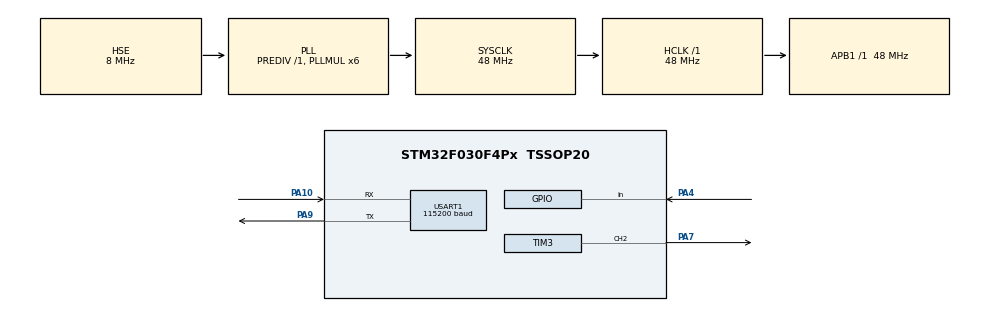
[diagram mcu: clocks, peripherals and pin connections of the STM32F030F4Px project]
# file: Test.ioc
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Mcu.Family=STM32F0
Mcu.Name=STM32F030F4Px
Mcu.Package=TSSOP20
NVIC.USART1_IRQn=true\:1\:0\:true\:true\:true\:1\:true\:true\:true
PA10.Mode=Asynchronous
PA10.Signal=USART1_RX
PA13.Mode=Serial_Wire
PA13.Signal=SYS_SWDIO
PA14.Mode=Serial_Wire
PA14.Signal=SYS_SWCLK
PA4.GPIO_PuPd=GPIO_PULLUP
PA4.Signal=GPIO_Input
PA7.Signal=S_TIM3_CH2
PA9.Mode=Asynchronous
PA9.Signal=USART1_TX
PF0-OSC_IN.Mode=HSE-External-Oscillator
PF0-OSC_IN.Signal=RCC_OSC_IN
PF1-OSC_OUT.Mode=HSE-External-Oscillator
PF1-OSC_OUT.Signal=RCC_OSC_OUT
ProjectManager.HeapSize=0x200
ProjectManager.StackSize=0x400
ProjectManager.TargetToolchain=MDK-ARM V5.32
RCC.AHBFreq_Value=48000000
RCC.APB1Freq_Value=48000000
RCC.APB1TimFreq_Value=48000000
RCC.HCLKFreq_Value=48000000
RCC.PLLMUL=RCC_PLL_MUL6
RCC.PLLSourceVirtual=RCC_PLLSOURCE_HSE
RCC.SYSCLKFreq_VALUE=48000000
RCC.SYSCLKSource=RCC_SYSCLKSOURCE_PLLCLK
SH.S_TIM3_CH2.0=TIM3_CH2,PWM Generation2 CH2
TIM3.Channel-PWM\ Generation2\ CH2=TIM_CHANNEL_2
TIM3.Period=100
TIM3.Prescaler=1000
USART1.BaudRate=115200
USART1.VirtualMode-Asynchronous=VM_ASYNC
board=custom

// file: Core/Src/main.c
/* USER CODE BEGIN Header */
/**
  ******************************************************************************
  * @file           : main.c
  * @brief          : Main program body
  ******************************************************************************
  * @attention
  *
  * Copyright (c) 2024 STMicroelectronics.
  * All rights reserved.
  *
  * This software is licensed under terms that can be found in the LICENSE file
  * in the root directory of this software component.
  * If no LICENSE file comes with this software, it is provided AS-IS.
  *
  ******************************************************************************
  */
/* USER CODE END Header */
#include "main.h"

/* USER CODE BEGIN Includes */
#include "wexcube.h"
/* USER CODE END Includes */

/* USER CODE BEGIN PD */
// 设备控制页面控件ID
#define TEXT_ID       2   // 文本框 ID
#define SWITCH_ID     4   // 开关ID
#define SLIDER_ID     6   // 滑动条ID
/* USER CODE END PD */

TIM_HandleTypeDef htim3;

UART_HandleTypeDef huart1;

void SystemClock_Config(void);
static void MX_GPIO_Init(void);
static void MX_TIM3_Init(void);
static void MX_USART1_UART_Init(void);
static void MX_NVIC_Init(void);

int main(void)
{

  /* USER CODE BEGIN 1 */
  wex_u8_t lightOn = 0;
  wex_u8_t lightLevel = 0;
  /* USER CODE END 1 */

  /* MCU Configuration--------------------------------------------------------*/

  /* Reset of all peripherals, Initializes the Flash interface and the Systick. */
  HAL_Init();

  /* Configure the system clock */
  SystemClock_Config();

  /* Initialize all configured peripherals */
  MX_GPIO_Init();
  MX_TIM3_Init();
  MX_USART1_UART_Init();

  /* Initialize interrupts */
  MX_NVIC_Init();
  /* USER CODE BEGIN 2 */

	HAL_TIM_PWM_Start(&htim3, TIM_CHANNEL_2);

	wex_init();
	wex_start();

  // 开启接收中断
	__HAL_UART_ENABLE_IT(&huart1, UART_IT_RXNE);

  /* USER CODE END 2 */

  /* Infinite loop */
  /* USER CODE BEGIN WHILE */
  while (1)
  {
	  const t_sWexCmd *pWexCmd = wex_process();
    switch (pWexCmd->eCmdType)
    {
    case eWexCmd_Connect:       		// WeXCube 连接指令
      wex_setText(TEXT_ID, "在线"); // 发送中文字符需要文件编码为 UTF-8
      wex_setTextColor(TEXT_ID, eWexColor_Green);
      wex_setValue(SWITCH_ID, lightOn);
      wex_setValue(SLIDER_ID, lightLevel);
      break;

    case eWexCmd_Event:         // 控件事件触发
      {
        switch (pWexCmd->ucCtrlId)
        {
        case SWITCH_ID:         // 开关控件
          if (pWexCmd->ucValue)
          {
            lightOn     = 1;
            lightLevel  = 50;
          }
          else
          {
            lightOn     = 0;
            lightLevel  = 0;
          }
          wex_setValue(SLIDER_ID, lightLevel);
          __HAL_TIM_SET_COMPARE(&htim3, TIM_CHANNEL_2, lightLevel);
          break;

        case SLIDER_ID:          // 滑动条控件
          lightLevel = pWexCmd->ucValue;
          if (lightLevel)
          {
            if (!lightOn)
            {
              lightOn = 1;
              wex_setValue(SWITCH_ID, 1);
            }
          }
          else
          {
            if (lightOn)
            {
              lightOn = 0;
              wex_setValue(SWITCH_ID, 0);
            }
          }
          __HAL_TIM_SET_COMPARE(&htim3, TIM_CHANNEL_2, lightLevel);
          break;

        default:
          break;
        }
      }
      break;

    default:
      break;
    }

    // 板子上按键处理
    if (HAL_GPIO_ReadPin(GPIOA, GPIO_PIN_4) == GPIO_PIN_RESET)
    {
      HAL_Delay(20);
      if (HAL_GPIO_ReadPin(GPIOA, GPIO_PIN_4) == GPIO_PIN_RESET)
      {
        if (lightOn)
        {
          lightOn     = 0;
          lightLevel  = 0;
          if (wex_getConnectState())
          {
            wex_setValue(SWITCH_ID, 0);
            wex_setValue(SLIDER_ID, 0);
          }
        }
        else
        {
          lightOn     = 1;
          lightLevel  = 50;
          if (wex_getConnectState())
          {
            wex_setValue(SWITCH_ID, 1);
            wex_setValue(SLIDER_ID, 50);
          }
        }
        __HAL_TIM_SET_COMPARE(&htim3, TIM_CHANNEL_2, lightLevel);

        // 等待按键释放
			  while(HAL_GPIO_ReadPin(GPIOA, GPIO_PIN_4) == GPIO_PIN_RESET);
			}
		}
    /* USER CODE END WHILE */

  }
}

void SystemClock_Config(void)
{
  RCC_OscInitTypeDef RCC_OscInitStruct = {0};
  RCC_ClkInitTypeDef RCC_ClkInitStruct = {0};
  RCC_PeriphCLKInitTypeDef PeriphClkInit = {0};

  /** Initializes the RCC Oscillators according to the specified parameters
  * in the RCC_OscInitTypeDef structure.
  */
  RCC_OscInitStruct.OscillatorType = RCC_OSCILLATORTYPE_HSE;
  RCC_OscInitStruct.HSEState = RCC_HSE_ON;
  RCC_OscInitStruct.PLL.PLLState = RCC_PLL_ON;
  RCC_OscInitStruct.PLL.PLLSource = RCC_PLLSOURCE_HSE;
  RCC_OscInitStruct.PLL.PLLMUL = RCC_PLL_MUL6;
  RCC_OscInitStruct.PLL.PREDIV = RCC_PREDIV_DIV1;
  if (HAL_RCC_OscConfig(&RCC_OscInitStruct) != HAL_OK)
  {
    Error_Handler();
  }

  /** Initializes the CPU, AHB and APB buses clocks
  */
  RCC_ClkInitStruct.ClockType = RCC_CLOCKTYPE_HCLK|RCC_CLOCKTYPE_SYSCLK
                              |RCC_CLOCKTYPE_PCLK1;
  RCC_ClkInitStruct.SYSCLKSource = RCC_SYSCLKSOURCE_PLLCLK;
  RCC_ClkInitStruct.AHBCLKDivider = RCC_SYSCLK_DIV1;
  RCC_ClkInitStruct.APB1CLKDivider = RCC_HCLK_DIV1;

  if (HAL_RCC_ClockConfig(&RCC_ClkInitStruct, FLASH_LATENCY_1) != HAL_OK)
  {
    Error_Handler();
  }
  PeriphClkInit.PeriphClockSelection = RCC_PERIPHCLK_USART1;
  PeriphClkInit.Usart1ClockSelection = RCC_USART1CLKSOURCE_PCLK1;
  if (HAL_RCCEx_PeriphCLKConfig(&PeriphClkInit) != HAL_OK)
  {
    Error_Handler();
  }
}

/**
  * @brief NVIC Configuration.
  * @retval None
  */
static void MX_NVIC_Init(void)
{
  /* USART1_IRQn interrupt configuration */
  HAL_NVIC_SetPriority(USART1_IRQn, 1, 0);
  HAL_NVIC_EnableIRQ(USART1_IRQn);
}

static void MX_TIM3_Init(void)
{

  TIM_MasterConfigTypeDef sMasterConfig = {0};
  TIM_OC_InitTypeDef sConfigOC = {0};

  htim3.Instance = TIM3;
  htim3.Init.Prescaler = 1000;
  htim3.Init.CounterMode = TIM_COUNTERMODE_UP;
  htim3.Init.Period = 100;
  htim3.Init.ClockDivision = TIM_CLOCKDIVISION_DIV1;
  htim3.Init.AutoReloadPreload = TIM_AUTORELOAD_PRELOAD_DISABLE;
  if (HAL_TIM_PWM_Init(&htim3) != HAL_OK)
  {
    Error_Handler();
  }
  sMasterConfig.MasterOutputTrigger = TIM_TRGO_RESET;
  sMasterConfig.MasterSlaveMode = TIM_MASTERSLAVEMODE_DISABLE;
  if (HAL_TIMEx_MasterConfigSynchronization(&htim3, &sMasterConfig) != HAL_OK)
  {
    Error_Handler();
  }
  sConfigOC.OCMode = TIM_OCMODE_PWM1;
  sConfigOC.Pulse = 0;
  sConfigOC.OCPolarity = TIM_OCPOLARITY_HIGH;
  sConfigOC.OCFastMode = TIM_OCFAST_DISABLE;
  if (HAL_TIM_PWM_ConfigChannel(&htim3, &sConfigOC, TIM_CHANNEL_2) != HAL_OK)
  {
    Error_Handler();
  }
  HAL_TIM_MspPostInit(&htim3);

}

static void MX_USART1_UART_Init(void)
{

  huart1.Instance = USART1;
  huart1.Init.BaudRate = 115200;
  huart1.Init.WordLength = UART_WORDLENGTH_8B;
  huart1.Init.StopBits = UART_STOPBITS_1;
  huart1.Init.Parity = UART_PARITY_NONE;
  huart1.Init.Mode = UART_MODE_TX_RX;
  huart1.Init.HwFlowCtl = UART_HWCONTROL_NONE;
  huart1.Init.OverSampling = UART_OVERSAMPLING_16;
  huart1.Init.OneBitSampling = UART_ONE_BIT_SAMPLE_DISABLE;
  huart1.AdvancedInit.AdvFeatureInit = UART_ADVFEATURE_NO_INIT;
  if (HAL_UART_Init(&huart1) != HAL_OK)
  {
    Error_Handler();
  }

}

static void MX_GPIO_Init(void)
{
  GPIO_InitTypeDef GPIO_InitStruct = {0};

  /* GPIO Ports Clock Enable */
  __HAL_RCC_GPIOF_CLK_ENABLE();
  __HAL_RCC_GPIOA_CLK_ENABLE();

  /*Configure GPIO pin : PA4 */
  GPIO_InitStruct.Pin = GPIO_PIN_4;
  GPIO_InitStruct.Mode = GPIO_MODE_INPUT;
  GPIO_InitStruct.Pull = GPIO_PULLUP;
  HAL_GPIO_Init(GPIOA, &GPIO_InitStruct);

}

void Error_Handler(void)
{
  __disable_irq();
  while (1)
  {
  }
}
